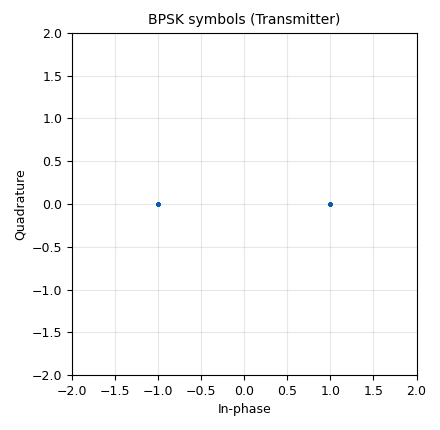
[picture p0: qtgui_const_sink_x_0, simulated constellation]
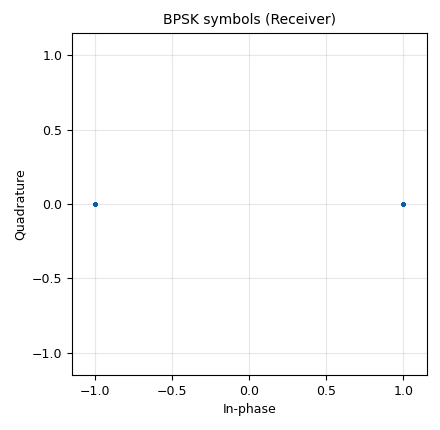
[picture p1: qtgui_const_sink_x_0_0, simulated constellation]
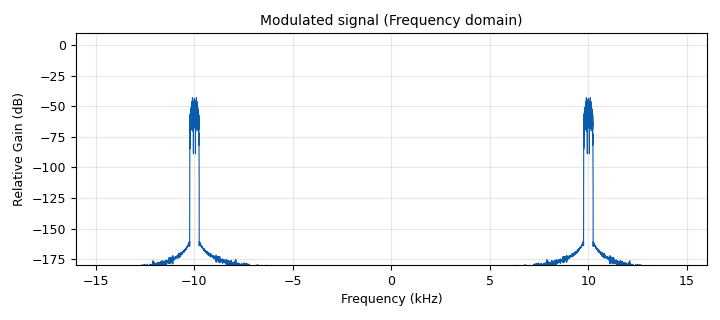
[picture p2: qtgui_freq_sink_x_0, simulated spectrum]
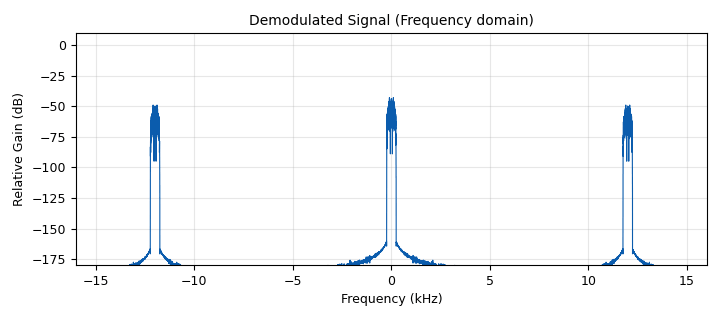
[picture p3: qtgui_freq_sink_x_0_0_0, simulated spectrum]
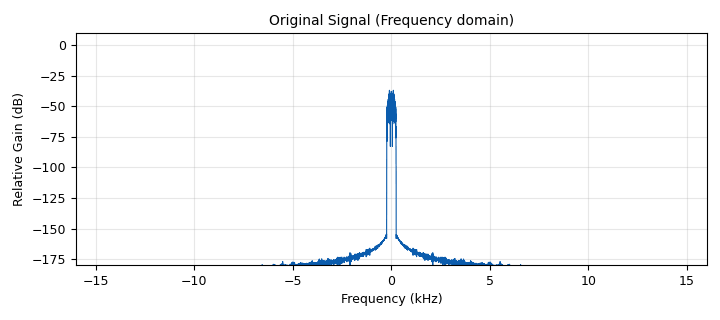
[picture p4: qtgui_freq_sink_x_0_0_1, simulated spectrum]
options:
  parameters:
    author: native
    generate_options: qt_gui
    id: test2
    output_language: python
    title: Not titled yet
  states: {}

blocks:
- name: bpsk
  id: variable
  parameters:
    value: '[-1,+1]'
  states: {}
- name: cfo
  id: variable_qtgui_range
  parameters:
    gui_hint: 3,0,1,4
    start: '0'
    step: fc/1000
    stop: fc/100
    value: '0'
  states: {}
- name: fc
  id: variable
  parameters:
    value: '10000'
  states: {}
- name: gain
  id: variable
  parameters:
    value: '20'
  states: {}
- name: noise
  id: variable_qtgui_range
  parameters:
    gui_hint: 0,0,1,4
    start: '0'
    step: '0.01'
    stop: '1'
    value: '0'
  states: {}
- name: over
  id: variable
  parameters:
    value: '100'
  states: {}
- name: qpsk
  id: variable
  parameters:
    value: '[-1-1j,-1+1j,1+1j,1-1j]'
  states: {}
- name: samp_rate
  id: variable
  parameters:
    value: '32000'
  states: {}
- name: symb_rate
  id: variable
  parameters:
    value: samp_rate/over
  states: {}
- name: analog_noise_source_x_0
  id: analog_noise_source_x
  parameters:
    amp: noise
    noise_type: analog.GR_GAUSSIAN
    seed: '0'
    type: float
  states: {}
- name: analog_random_source_x_0
  id: analog_random_source_x
  parameters:
    max: '2'
    min: '0'
    num_samps: '1000000'
    repeat: 'True'
    type: int
  states: {}
- name: analog_sig_source_x_0_0_0
  id: analog_sig_source_x
  parameters:
    amp: '1'
    freq: '-fc'
    offset: '0'
    phase: '0'
    samp_rate: samp_rate
    type: float
    waveform: analog.GR_COS_WAVE
  states: {}
- name: analog_sig_source_x_0_1
  id: analog_sig_source_x
  parameters:
    amp: '1'
    freq: fc
    offset: '0'
    phase: '0'
    samp_rate: samp_rate
    type: float
    waveform: analog.GR_COS_WAVE
  states: {}
- name: blocks_add_xx_0
  id: blocks_add_xx
  parameters:
    type: float
  states: {}
- name: blocks_float_to_complex_0
  id: blocks_float_to_complex
  parameters: {}
  states: {}
- name: blocks_float_to_complex_0_1
  id: blocks_float_to_complex
  parameters: {}
  states: {}
- name: blocks_float_to_complex_0_1_0
  id: blocks_float_to_complex
  parameters: {}
  states: {}
- name: blocks_float_to_complex_1
  id: blocks_float_to_complex
  parameters: {}
  states: {}
- name: blocks_float_to_complex_2
  id: blocks_float_to_complex
  parameters: {}
  states: {}
- name: blocks_multiply_xx_0
  id: blocks_multiply_xx
  parameters:
    type: float
  states: {}
- name: blocks_multiply_xx_0_0
  id: blocks_multiply_xx
  parameters:
    type: float
  states: {}
- name: blocks_throttle_0
  id: blocks_throttle
  parameters:
    samples_per_second: samp_rate
    type: float
  states: {}
- name: digital_chunks_to_symbols_xx_0
  id: digital_chunks_to_symbols_xx
  parameters:
    dimension: '1'
    in_type: int
    out_type: float
    symbol_table: bpsk
  states: {}
- name: qtgui_const_sink_x_0
  id: qtgui_const_sink_x
  parameters:
    grid: 'True'
    gui_hint: 1,0,2,2
    name: '"BPSK symbols (Transmitter)"'
    size: '1024'
    type: complex
  states: {}
- name: qtgui_const_sink_x_0_0
  id: qtgui_const_sink_x
  parameters:
    autoscale: 'True'
    grid: 'True'
    gui_hint: 1,2,2,2
    name: '"BPSK symbols (Receiver)"'
    size: '1024'
    type: complex
  states: {}
- name: qtgui_freq_sink_x_0
  id: qtgui_freq_sink_x
  parameters:
    bw: samp_rate
    fc: '0'
    fftsize: '32768'
    grid: 'True'
    gui_hint: 4,1,2,1
    name: '"Modulated signal (Frequency domain)"'
    type: complex
    ymin: '-180'
  states: {}
- name: qtgui_freq_sink_x_0_0_0
  id: qtgui_freq_sink_x
  parameters:
    bw: samp_rate
    fc: '0'
    fftsize: '32768'
    grid: 'True'
    gui_hint: 4,2,2,1
    name: '"Demodulated Signal (Frequency domain)"'
    type: complex
    ymin: '-180'
  states: {}
- name: qtgui_freq_sink_x_0_0_1
  id: qtgui_freq_sink_x
  parameters:
    bw: samp_rate
    fc: '0'
    fftsize: '32768'
    grid: 'True'
    gui_hint: 4,0,2,1
    name: '"Original Signal (Frequency domain)"'
    type: complex
    ymin: '-180'
  states: {}
- name: qtgui_time_sink_x_0_1
  id: qtgui_time_sink_x
  parameters:
    grid: 'True'
    name: '"BPSK symbols (Time domain)"'
    size: '1024'
    srate: samp_rate
    type: complex
    ymax: '1.5'
    ymin: '-1.5'
  states: {state: disabled}
- name: qtgui_time_sink_x_1_0
  id: qtgui_time_sink_x
  parameters:
    grid: 'True'
    name: '"Modulated Signal (Time domain)"'
    size: '1024'
    srate: samp_rate
    type: complex
  states: {state: disabled}
- name: root_raised_cosine_filter_0_0
  id: root_raised_cosine_filter
  parameters:
    alpha: '0.5'
    decim: '100'
    gain: gain/2
    interp: over
    ntaps: 11*samp_rate
    samp_rate: samp_rate
    sym_rate: symb_rate
    type: fir_filter_fff
  states: {}
- name: root_raised_cosine_filter_0_1
  id: root_raised_cosine_filter
  parameters:
    alpha: '0.5'
    gain: gain
    interp: over
    ntaps: 11*samp_rate
    samp_rate: samp_rate
    sym_rate: symb_rate
    type: interp_fir_filter_fff
  states: {}
- name: virtual_sink_0
  id: virtual_sink
  parameters:
    stream_id: '1'
  states: {}
- name: virtual_source_0
  id: virtual_source
  parameters:
    stream_id: '1'
  states: {}

connections:
- [analog_noise_source_x_0, '0', blocks_add_xx_0, '0']
- [analog_random_source_x_0, '0', digital_chunks_to_symbols_xx_0, '0']
- [analog_sig_source_x_0_0_0, '0', blocks_multiply_xx_0_0, '1']
- [analog_sig_source_x_0_1, '0', blocks_multiply_xx_0, '1']
- [blocks_add_xx_0, '0', blocks_multiply_xx_0_0, '0']
- [blocks_float_to_complex_0, '0', qtgui_freq_sink_x_0_0_1, '0']
- [blocks_float_to_complex_0_1, '0', qtgui_freq_sink_x_0, '0']
- [blocks_float_to_complex_0_1_0, '0', qtgui_const_sink_x_0, '0']
- [blocks_float_to_complex_1, '0', qtgui_freq_sink_x_0_0_0, '0']
- [blocks_float_to_complex_2, '0', qtgui_const_sink_x_0_0, '0']
- [blocks_multiply_xx_0, '0', blocks_float_to_complex_0_1, '0']
- [blocks_multiply_xx_0, '0', virtual_sink_0, '0']
- [blocks_multiply_xx_0_0, '0', blocks_float_to_complex_1, '0']
- [blocks_multiply_xx_0_0, '0', qtgui_time_sink_x_1_0, '0']
- [blocks_multiply_xx_0_0, '0', root_raised_cosine_filter_0_0, '0']
- [blocks_throttle_0, '0', blocks_add_xx_0, '1']
- [digital_chunks_to_symbols_xx_0, '0', blocks_float_to_complex_0_1_0, '0']
- [digital_chunks_to_symbols_xx_0, '0', root_raised_cosine_filter_0_1, '0']
- [root_raised_cosine_filter_0_0, '0', blocks_float_to_complex_2, '0']
- [root_raised_cosine_filter_0_0, '0', qtgui_time_sink_x_0_1, '0']
- [root_raised_cosine_filter_0_1, '0', blocks_float_to_complex_0, '0']
- [root_raised_cosine_filter_0_1, '0', blocks_multiply_xx_0, '0']
- [virtual_source_0, '0', blocks_throttle_0, '0']

metadata:
  file_format: 1
  grc_version: 3.9.8.0
